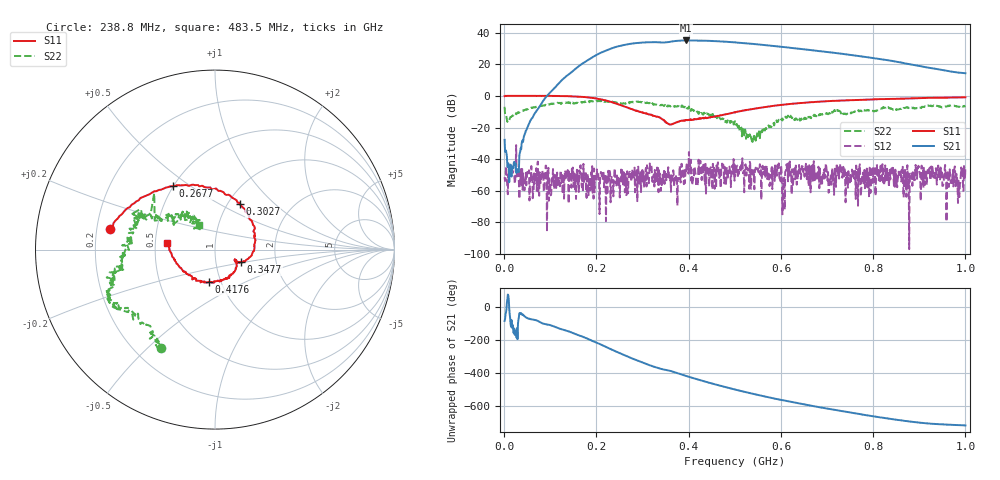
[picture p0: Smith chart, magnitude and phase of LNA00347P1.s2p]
! Created with skrf 1.9.0 (http://scikit-rf.org).
# Hz S RI R 50.0
!freq ReS11 ImS11 ReS21 ImS21 ReS12 ImS12 ReS22 ImS22
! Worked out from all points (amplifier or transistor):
!   1001 points, 1 MHz to 1 GHz, reference 50 ohm
!   highest |S21| = 35.0 dB at 394.6 MHz (marker M1)
!   |S21| within 3 dB of that: 257.7 MHz to 568.5 MHz (310.9 MHz wide, 75.3 % of centre)
!   unconditionally stable (mu >= 1): 239.9 MHz to 309.7 MHz; 315.8 MHz to 400.2 MHz; 401 MHz to end of sweep (the widest 3 of 34)
!   at 166.8 MHz: K = 0.73, MSG = 33.9 dB, |S12| = -48.1 dB
!   at 500.5 MHz: K = 1.60, MAG = 34.3 dB, |S12| = -43.8 dB
!   at 1 GHz: K = 2.31, MAG = 23.5 dB, |S12| = -45.6 dB
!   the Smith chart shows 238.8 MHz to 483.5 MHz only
!   S11 on the Smith chart (normalised r, x): 238.8 MHz: 0.26, +0.09; 267.7 MHz: 0.50, +0.43; 302.7 MHz: 1.14, +0.63; 347.7 MHz: 1.33, -0.18; 417.6 MHz: 0.88, -0.33; 483.5 MHz: 0.58, +0.05
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1000000  0.979 0.00267  0.00398 -0.0407  -0.00265 -0.00028  0.3481 0.2868
1.08892e8  0.5066 -0.8566  -0.8466 -1.544  9.71e-05 0.00112  0.4253 -0.3761
1.67833e8  -0.2595 -0.8915  -10.02 -0.3882  0.00134 -0.000789  0.0272 -0.6353
2.08792e8  -0.6818 -0.3759  -15.46 16.67  -0.000602 -0.0027  -0.2059 -0.6417
2.38762e8  -0.5824 0.1168  -2.318 33.75  -0.000102 -0.00352  -0.3017 -0.5498
2.67733e8  -0.2325 0.3532  22.32 36.14  -4.43e-05 -0.000968  -0.475 -0.3336
3.02698e8  0.139 0.2519  45.71 15.74  0.000557 0.00165  -0.5827 -0.195
3.34666e8  0.2119 -0.011  48.12 -10.56  0.000271 0.000863  -0.5183 -0.0526
3.47653e8  0.146 -0.0679  45.18 -17.91  -0.00161 0.000306  -0.4997 0.022
3.7063e8  0.12 -0.0716  42.91 -32.92  -1.12e-05 0.00286  -0.4501 0.1641
3.94606e8  0.0737 -0.154  28.3 -48.65  0.00173 0.00394  -0.3888 0.1821
4.17583e8  -0.0319 -0.181  10.17 -54.92  0.000654 0.00198  -0.2583 0.1914
4.46554e8  -0.1616 -0.1259  -11.85 -53.23  0.00424 -0.00213  -0.1456 0.2055
4.83517e8  -0.2659 0.0381  -33.17 -38.93  0.00511 0.00192  -0.0865 0.1368
5.005e8  -0.2651 0.1306  -39.01 -30.09  -0.00501 -0.00406  -0.0976 0.1268
5.4046e8  -0.1936 0.3372  -42.79 -8.307  -0.00254 -0.00104  -0.0419 -0.0278
5.88412e8  0.0201 0.4915  -35.2 12.11  0.00192 -0.00404  -0.1101 -0.0992
6.25375e8  0.1958 0.5301  -24.95 20.56  0.00133 0.000573  -0.1691 -0.1351
6.67333e8  0.4001 0.4905  -12.9 24.25  0.000347 -0.00331  -0.2271 -0.078
7.53247e8  0.6763 0.2746  4.647 18.87  -0.00325 -0.00105  -0.2963 -0.0259
8.34166e8  0.7974 0.0127  10.1 8.513  -0.000861 -0.000971  -0.4057 -0.000263
1e9  0.7273 -0.5305  5.185 -0.1045  -0.00158 0.00503  -0.3097 0.3503
